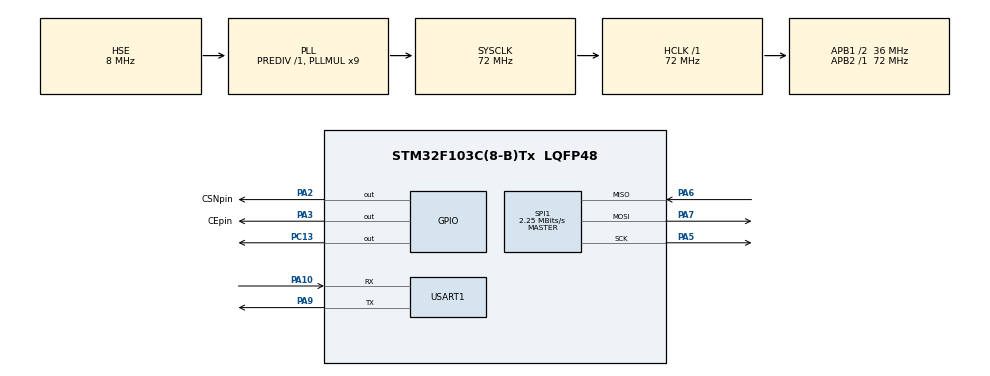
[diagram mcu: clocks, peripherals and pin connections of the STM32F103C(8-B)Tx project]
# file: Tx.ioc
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Mcu.Family=STM32F1
Mcu.Name=STM32F103C(8-B)Tx
Mcu.Package=LQFP48
NVIC.PriorityGroup=NVIC_PRIORITYGROUP_4
PA10.Mode=Asynchronous
PA10.Signal=USART1_RX
PA2.GPIO_Label=CSNpin
PA2.Signal=GPIO_Output
PA3.GPIO_Label=CEpin
PA3.Signal=GPIO_Output
PA5.Mode=Full_Duplex_Master
PA5.Signal=SPI1_SCK
PA6.Mode=Full_Duplex_Master
PA6.Signal=SPI1_MISO
PA7.Mode=Full_Duplex_Master
PA7.Signal=SPI1_MOSI
PA9.Mode=Asynchronous
PA9.Signal=USART1_TX
PC13-TAMPER-RTC.Signal=GPIO_Output
PD0-OSC_IN.Mode=HSE-External-Oscillator
PD0-OSC_IN.Signal=RCC_OSC_IN
PD1-OSC_OUT.Mode=HSE-External-Oscillator
PD1-OSC_OUT.Signal=RCC_OSC_OUT
ProjectManager.HeapSize=0x200
ProjectManager.StackSize=0x400
ProjectManager.TargetToolchain=MDK-ARM V5.32
RCC.AHBFreq_Value=72000000
RCC.APB1CLKDivider=RCC_HCLK_DIV2
RCC.APB1Freq_Value=36000000
RCC.APB1TimFreq_Value=72000000
RCC.APB2Freq_Value=72000000
RCC.APB2TimFreq_Value=72000000
RCC.HCLKFreq_Value=72000000
RCC.PLLMUL=RCC_PLL_MUL9
RCC.PLLSourceVirtual=RCC_PLLSOURCE_HSE
RCC.SYSCLKFreq_VALUE=72000000
RCC.SYSCLKSource=RCC_SYSCLKSOURCE_PLLCLK
RCC.USBFreq_Value=72000000
SPI1.BaudRatePrescaler=SPI_BAUDRATEPRESCALER_32
SPI1.CalculateBaudRate=2.25 MBits/s
SPI1.Direction=SPI_DIRECTION_2LINES
SPI1.Mode=SPI_MODE_MASTER
SPI1.VirtualType=VM_MASTER
USART1.VirtualMode=VM_ASYNC
VP_SYS_VS_ND.Mode=No_Debug
board=custom

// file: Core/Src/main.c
/* USER CODE BEGIN Header */
/**
  ******************************************************************************
  * @file           : main.c
  * @brief          : Main program body
  ******************************************************************************
  * @attention
  *
  * Copyright (c) 2022 STMicroelectronics.
  * All rights reserved.
  *
  * This software is licensed under terms that can be found in the LICENSE file
  * in the root directory of this software component.
  * If no LICENSE file comes with this software, it is provided AS-IS.
  *
  ******************************************************************************
  */
/* USER CODE END Header */
#include "main.h"

SPI_HandleTypeDef hspi1;

UART_HandleTypeDef huart1;

void SystemClock_Config(void);
static void MX_GPIO_Init(void);
static void MX_SPI1_Init(void);
static void MX_USART1_UART_Init(void);

/* USER CODE BEGIN 0 */
uint64_t TxpipeAddrs = 0x11223344AA;
char myTxData[32] = "Hello World!";
char AckPayload[32];
/* USER CODE END 0 */

int main(void)
{

  /* MCU Configuration--------------------------------------------------------*/

  /* Reset of all peripherals, Initializes the Flash interface and the Systick. */
  HAL_Init();

  /* Configure the system clock */
  SystemClock_Config();

  /* Initialize all configured peripherals */
  MX_GPIO_Init();
  MX_SPI1_Init();
  MX_USART1_UART_Init();
  /* USER CODE BEGIN 2 */
	NRF24_begin(CEpin_GPIO_Port,CSNpin_Pin,CEpin_Pin,hspi1);
  nrf24_DebugUART_Init(huart1);

	printRadioSettings();

	//Transmit - ACK//
	NRF24_stopListening();
	NRF24_openWritingPipe(TxpipeAddrs);
	NRF24_setAutoAck(true);
	NRF24_setChannel(52);
	NRF24_setPayloadSize(32);

	NRF24_enableDynamicPayloads();
	NRF24_enableAckPayload();
  /* USER CODE END 2 */

  /* Infinite loop */
  while (1)
  {

    /* USER CODE BEGIN 3 */
		if(NRF24_write(myTxData,32))
		{
			HAL_GPIO_TogglePin(GPIOC,GPIO_PIN_13);
			NRF24_read(AckPayload,32);
			char text[32];
			sprintf(text,"Transmitted Sucessfully\r\n");
			HAL_UART_Transmit(&huart1,(uint8_t*)text,strlen(text),100);

			sprintf(text,"AckPlayload: %s \r\n",AckPayload);
			HAL_UART_Transmit(&huart1,(uint8_t*)text,strlen(text),100);
		}
		HAL_Delay(100);
  }
  /* USER CODE END 3 */
}

void SystemClock_Config(void)
{
  RCC_OscInitTypeDef RCC_OscInitStruct = {0};
  RCC_ClkInitTypeDef RCC_ClkInitStruct = {0};

  /** Initializes the RCC Oscillators according to the specified parameters
  * in the RCC_OscInitTypeDef structure.
  */
  RCC_OscInitStruct.OscillatorType = RCC_OSCILLATORTYPE_HSE;
  RCC_OscInitStruct.HSEState = RCC_HSE_ON;
  RCC_OscInitStruct.HSEPredivValue = RCC_HSE_PREDIV_DIV1;
  RCC_OscInitStruct.HSIState = RCC_HSI_ON;
  RCC_OscInitStruct.PLL.PLLState = RCC_PLL_ON;
  RCC_OscInitStruct.PLL.PLLSource = RCC_PLLSOURCE_HSE;
  RCC_OscInitStruct.PLL.PLLMUL = RCC_PLL_MUL9;
  if (HAL_RCC_OscConfig(&RCC_OscInitStruct) != HAL_OK)
  {
    Error_Handler();
  }
  /** Initializes the CPU, AHB and APB buses clocks
  */
  RCC_ClkInitStruct.ClockType = RCC_CLOCKTYPE_HCLK|RCC_CLOCKTYPE_SYSCLK
                              |RCC_CLOCKTYPE_PCLK1|RCC_CLOCKTYPE_PCLK2;
  RCC_ClkInitStruct.SYSCLKSource = RCC_SYSCLKSOURCE_PLLCLK;
  RCC_ClkInitStruct.AHBCLKDivider = RCC_SYSCLK_DIV1;
  RCC_ClkInitStruct.APB1CLKDivider = RCC_HCLK_DIV2;
  RCC_ClkInitStruct.APB2CLKDivider = RCC_HCLK_DIV1;

  if (HAL_RCC_ClockConfig(&RCC_ClkInitStruct, FLASH_LATENCY_2) != HAL_OK)
  {
    Error_Handler();
  }
}

static void MX_SPI1_Init(void)
{

  /* SPI1 parameter configuration*/
  hspi1.Instance = SPI1;
  hspi1.Init.Mode = SPI_MODE_MASTER;
  hspi1.Init.Direction = SPI_DIRECTION_2LINES;
  hspi1.Init.DataSize = SPI_DATASIZE_8BIT;
  hspi1.Init.CLKPolarity = SPI_POLARITY_LOW;
  hspi1.Init.CLKPhase = SPI_PHASE_1EDGE;
  hspi1.Init.NSS = SPI_NSS_SOFT;
  hspi1.Init.BaudRatePrescaler = SPI_BAUDRATEPRESCALER_32;
  hspi1.Init.FirstBit = SPI_FIRSTBIT_MSB;
  hspi1.Init.TIMode = SPI_TIMODE_DISABLE;
  hspi1.Init.CRCCalculation = SPI_CRCCALCULATION_DISABLE;
  hspi1.Init.CRCPolynomial = 10;
  if (HAL_SPI_Init(&hspi1) != HAL_OK)
  {
    Error_Handler();
  }

}

static void MX_USART1_UART_Init(void)
{

  huart1.Instance = USART1;
  huart1.Init.BaudRate = 115200;
  huart1.Init.WordLength = UART_WORDLENGTH_8B;
  huart1.Init.StopBits = UART_STOPBITS_1;
  huart1.Init.Parity = UART_PARITY_NONE;
  huart1.Init.Mode = UART_MODE_TX_RX;
  huart1.Init.HwFlowCtl = UART_HWCONTROL_NONE;
  huart1.Init.OverSampling = UART_OVERSAMPLING_16;
  if (HAL_UART_Init(&huart1) != HAL_OK)
  {
    Error_Handler();
  }

}

static void MX_GPIO_Init(void)
{
  GPIO_InitTypeDef GPIO_InitStruct = {0};

  /* GPIO Ports Clock Enable */
  __HAL_RCC_GPIOC_CLK_ENABLE();
  __HAL_RCC_GPIOD_CLK_ENABLE();
  __HAL_RCC_GPIOA_CLK_ENABLE();

  /*Configure GPIO pin Output Level */
  HAL_GPIO_WritePin(GPIOC, GPIO_PIN_13, GPIO_PIN_RESET);

  /*Configure GPIO pin Output Level */
  HAL_GPIO_WritePin(GPIOA, CSNpin_Pin|CEpin_Pin, GPIO_PIN_RESET);

  /*Configure GPIO pin : PC13 */
  GPIO_InitStruct.Pin = GPIO_PIN_13;
  GPIO_InitStruct.Mode = GPIO_MODE_OUTPUT_PP;
  GPIO_InitStruct.Pull = GPIO_NOPULL;
  GPIO_InitStruct.Speed = GPIO_SPEED_FREQ_LOW;
  HAL_GPIO_Init(GPIOC, &GPIO_InitStruct);

  /*Configure GPIO pins : CSNpin_Pin CEpin_Pin */
  GPIO_InitStruct.Pin = CSNpin_Pin|CEpin_Pin;
  GPIO_InitStruct.Mode = GPIO_MODE_OUTPUT_PP;
  GPIO_InitStruct.Pull = GPIO_NOPULL;
  GPIO_InitStruct.Speed = GPIO_SPEED_FREQ_LOW;
  HAL_GPIO_Init(GPIOA, &GPIO_InitStruct);

}

void Error_Handler(void)
{
  __disable_irq();
  while (1)
  {
  }
}
